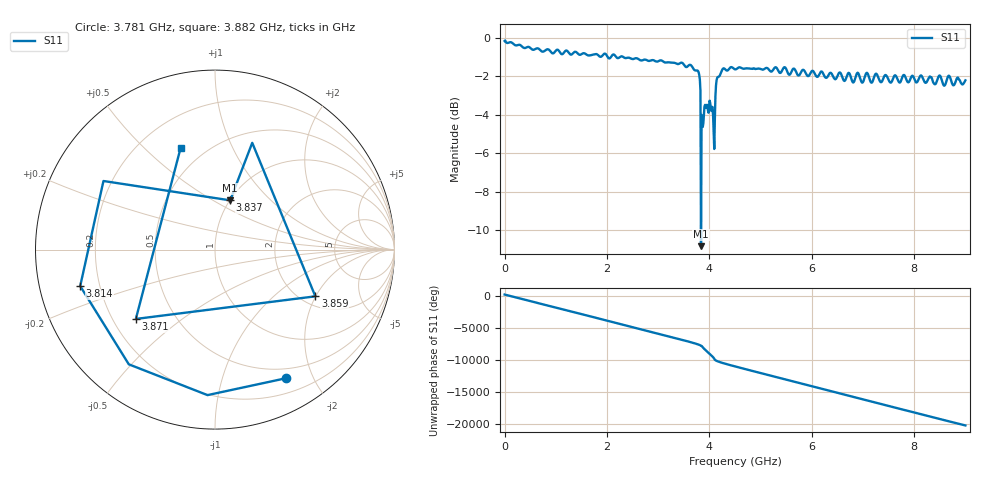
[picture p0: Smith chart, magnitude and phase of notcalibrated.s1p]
# Hz S RI R 50
! CMT, SC5090, 20109241, 21.3.2/2
! Date: 11/4/2021 12:49:09 PM
! Data: Format (Calibration Info)
! Freq	S11:Re/Im(--)
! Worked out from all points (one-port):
!   801 points, 1 MHz to 9 GHz, reference 50 ohm
!   lowest |S11| = -10.8 dB at 3.837 GHz (marker M1), VSWR 1.81, Z = 50.2 + j30 ohm
!   |S11| at or under -10 dB: 3.835661 GHz to 3.838204 GHz (2.543 MHz wide, 0.0663 % of centre)
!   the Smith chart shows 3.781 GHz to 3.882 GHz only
!   S11 on the Smith chart (normalised r, x): 3.781 GHz: 0.38, -1.63; 3.814 GHz: 0.13, -0.13; 3.837 GHz: 1.00, +0.60; 3.859 GHz: 2.36, -1.99; 3.871 GHz: 0.29, -0.35; 3.882 GHz: 0.37, +0.65
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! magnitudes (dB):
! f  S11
! 1 MHz  -0.2
! 1.126 GHz  -0.9
! 2.251 GHz  -1.0
! 3.376 GHz  -1.4
! 3.634 GHz  -1.4
! 3.781 GHz  -1.7
! 3.792 GHz  -1.8
! 3.814 GHz  -2.2
! 3.837 GHz  -10.8
! 3.859 GHz  -4.2
! 3.871 GHz  -4.6
! 3.882 GHz  -4.5
! 3.893 GHz  -4.0
! 3.949 GHz  -3.5
! 4.028 GHz  -3.7
! 4.073 GHz  -4.1
! 4.129 GHz  -2.5
! 4.163 GHz  -2.0
! 4.186 GHz  -2.0
! 4.276 GHz  -1.6
! 4.5 GHz  -1.6
! 5.625 GHz  -1.7
! 6.75 GHz  -1.9
! 6.806 GHz  -2.3
! 7.076 GHz  -1.8
! 7.166 GHz  -2.3
! 7.875 GHz  -2.3
! 9 GHz  -2.2
